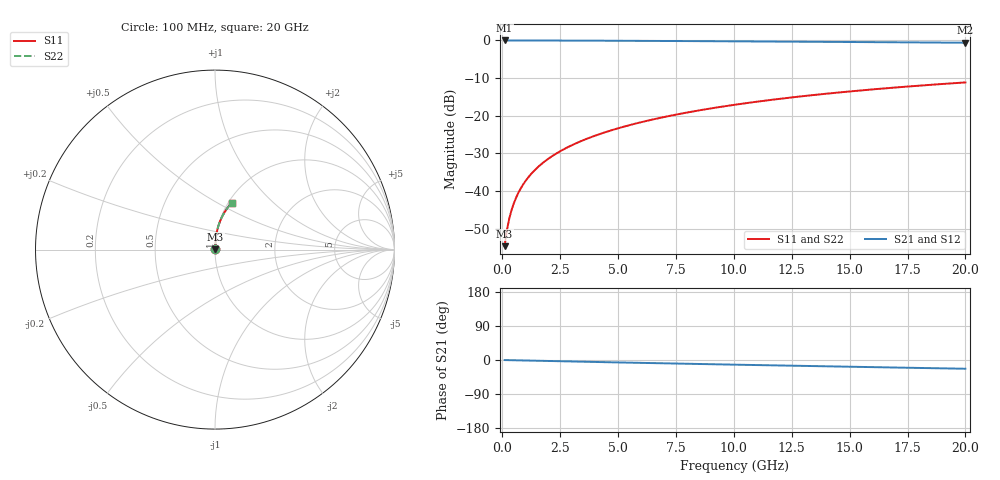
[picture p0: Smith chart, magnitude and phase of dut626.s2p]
! Touchstone file exported from HFSS 2024.1.0
!  File:  C:/UserFiles/LocalFiles/RDL_TSV_Batchsim/temp_RDL_bottom_626_1779784255.aedt
!  Generated:  04:33:35 PM May 26, 2026
!  Design:  RDL_bottom
!  Project:  temp_RDL_bottom_626_1779784255
!  Setup:  Setup1
!  Solution:  Sweep
! Variables:
!  dtsv = 10.80580581um
!  hbump = 3um
!  htsv = 65.31um
!  ldown = 266.19um
!  lrdl = 100um
!  p = 40
!  p1 = 58.11um
!  rhole = 1um
!  t = 450um
!  tdown = 4.97um
!  trdl = 3.915915916um
!  wdown = 17.32um
!  wrdl = 20um
# GHz S MA R 50.000000
! Terminal data exported
! Port[1] = RDL1_T1
! Port[2] = RDL1_T2
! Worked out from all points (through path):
!   200 points, 100 MHz to 20 GHz, reference 50 ohm
!   highest |S21| = -0.01 dB at 100 MHz (marker M1); lowest = -0.6 dB at 20 GHz (marker M2)
!   group delay of S21, straight-line fit = 3.18 ps
!   lowest |S11| = -54.6 dB at 100 MHz (marker M3), VSWR 1.00, Z = 50.1 + j0.141 ohm
!   |S11| at or under -10 dB: start of sweep to end of sweep
!   |S22| runs from -54.6 to -11.1 dB; largest |S21 - S12| = 3.9e-15
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0.1  0.001865 49.0  0.9988 -0.1  0.9988 -0.1  0.001865 49.0
! Gamma 0 0 0 0
! Port Impedance 50 0 50 0
0.2  0.00305 65.4  0.9987 -0.3  0.9987 -0.3  0.00305 65.4
0.3  0.004319 72.4  0.9987 -0.4  0.9987 -0.4  0.004319 72.4
0.4  0.005619 76.3  0.9986 -0.5  0.9986 -0.5  0.005619 76.3
0.5  0.006935 78.7  0.9985 -0.7  0.9985 -0.7  0.006935 78.7
0.7  0.009595 81.6  0.9984 -0.9  0.9984 -0.9  0.009595 81.6
0.8  0.01093 82.5  0.9983 -1.1  0.9983 -1.1  0.01093 82.5
1  0.01362 83.7  0.9981 -1.3  0.9981 -1.3  0.01362 83.7
1.2  0.01631 84.5  0.9979 -1.6  0.9979 -1.6  0.01631 84.5
1.4  0.019 85.0  0.9977 -1.8  0.9977 -1.8  0.019 85.0
1.7  0.02305 85.6  0.9973 -2.2  0.9973 -2.2  0.02305 85.6
2  0.02711 85.9  0.9969 -2.6  0.9969 -2.6  0.02711 85.9
2.7  0.0366 86.1  0.9956 -3.5  0.9956 -3.5  0.0366 86.1
3.5  0.04752 86.1  0.9938 -4.5  0.9938 -4.5  0.04752 86.1
4.2  0.05716 85.9  0.992 -5.4  0.992 -5.4  0.05716 85.9
5  0.06828 85.6  0.9897 -6.4  0.9897 -6.4  0.06828 85.6
6.8  0.09368 84.4  0.984 -8.6  0.984 -8.6  0.09368 84.4
8.4  0.1166 83.0  0.9785 -10.4  0.9785 -10.4  0.1166 83.0
10.1  0.141 81.3  0.9723 -12.4  0.9723 -12.4  0.141 81.3
13.4  0.1881 77.8  0.9596 -16.0  0.9596 -16.0  0.1881 77.8
16.7  0.2337 74.1  0.946 -19.6  0.946 -19.6  0.2337 74.1
20  0.2772 70.4  0.9315 -23.1  0.9315 -23.1  0.2772 70.4
